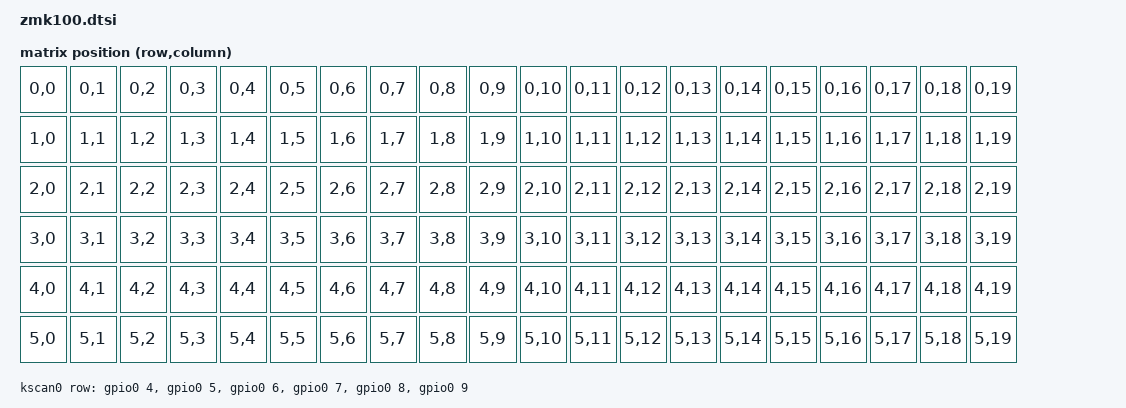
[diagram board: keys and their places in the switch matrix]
#include <dt-bindings/zmk/matrix_transform.h>

/ {
    chosen {
        zmk,kscan = &kscan0;
        zmk,matrix-transform = &default_transform;
    };
    
    default_transform: keymap_transform0 {
        compatible = "zmk,matrix-transform";
        columns = <20>;
        rows = <6>;
        map = <
        //  LKey 1 |LKey 2 |LKey 3 |LKey 4 |LKey 5 |LKey 6 |LKey 7 |LKey 8              RKey 1 |RKey 2 |RKey 3 |RKey 4 |RKey 5 |RKey 6 |RKey 7 |RKey 8 |RKey 9 |RKey 10 |RKey 11 |RKey 12
            RC(0,0) RC(0,1) RC(0,2) RC(0,3) RC(0,4) RC(0,5) RC(0,6) RC(0,7)             RC(0,8)  RC(0,9)  RC(0,10) RC(0,11) RC(0,12) RC(0,13) RC(0,14) RC(0,15) RC(0,16) RC(0,17) RC(0,18) RC(0,19)
        //  LKey 9 |LKey 10 |LKey 11 |LKey 12 |LKey 13 |LKey 14 |LKey 15 |LKey 16       RKey 13 |RKey 14 |RKey 15 |RKey 16 |RKey 17 |RKey 18 |RKey 19 |RKey 20 |RKey 21 |RKey 22 |RKey 23 |RKey 24
            RC(1,0) RC(1,1) RC(1,2) RC(1,3) RC(1,4) RC(1,5) RC(1,6) RC(1,7)             RC(1,8)  RC(1,9)  RC(1,10) RC(1,11) RC(1,12) RC(1,13) RC(1,14) RC(1,15) RC(1,16) RC(1,17) RC(1,18) RC(1,19)
        //  LKey 17 |LKey 18 |LKey 19 |LKey 20 |LKey 21 |LKey 22 |LKey 23 |LKey 24      RKey 25 |RKey 26 |RKey 27 |RKey 28 |RKey 29 |RKey 30 |RKey 31 |RKey 32 |RKey 33 |RKey 34 |RKey 35 |RKey 36
            RC(2,0) RC(2,1) RC(2,2) RC(2,3) RC(2,4) RC(2,5) RC(2,6) RC(2,7)             RC(2,8)  RC(2,9)  RC(2,10) RC(2,11) RC(2,12) RC(2,13) RC(2,14) RC(2,15) RC(2,16) RC(2,17) RC(2,18) RC(2,19)
        //  LKey 25 |LKey 26 |LKey 27 |LKey 28 |LKey 29 |LKey 30 |LKey 31 |LKey 32      RKey 37 |RKey 38 |RKey 39 |RKey 40 |RKey 41 |RKey 42 |RKey 43 |RKey 44 |RKey 45 |RKey 46 |RKey 47 |RKey 48
            RC(3,0) RC(3,1) RC(3,2) RC(3,3) RC(3,4) RC(3,5) RC(3,6) RC(3,7)             RC(3,8)  RC(3,9)  RC(3,10) RC(3,11) RC(3,12) RC(3,13) RC(3,14) RC(3,15) RC(3,16) RC(3,17) RC(3,18) RC(3,19)
        //  LKey 33 |LKey 34 |LKey 35 |LKey 36 |LKey 37 |LKey 38 |LKey 39 |LKey 40      RKey 49 |RKey 50 |RKey 51 |RKey 52 |RKey 53 |RKey 54 |RKey 55 |RKey 56 |RKey 57 |RKey 58 |RKey 59 |RKey 60
            RC(4,0) RC(4,1) RC(4,2) RC(4,3) RC(4,4) RC(4,5) RC(4,6) RC(4,7)             RC(4,8)  RC(4,9)  RC(4,10) RC(4,11) RC(4,12) RC(4,13) RC(4,14) RC(4,15) RC(4,16) RC(4,17) RC(4,18) RC(4,19)
        //  LKey 41 |LKey 42 |LKey 43 |LKey 44 |LKey 45 |LKey 46 |LKey 47 |LKey 48      RKey 61 |RKey 62 |RKey 63 |RKey 64 |RKey 65 |RKey 66 |RKey 67 |RKey 68 |RKey 69 |RKey 70 |RKey 71 |RKey 72
            RC(5,0) RC(5,1) RC(5,2) RC(5,3) RC(5,4) RC(5,5) RC(5,6) RC(5,7)             RC(5,8)  RC(5,9)  RC(5,10) RC(5,11) RC(5,12) RC(5,13) RC(5,14) RC(5,15) RC(5,16) RC(5,17) RC(5,18) RC(5,19)
        >;
    };



    kscan0: kscan0 {
    compatible = "zmk,kscan-gpio-matrix";
    diode-direction = "col2row";
    wakeup-source;

    row-gpios =
        <&gpio0 4 (GPIO_ACTIVE_HIGH | GPIO_PULL_DOWN)>
        , <&gpio0 5 (GPIO_ACTIVE_HIGH | GPIO_PULL_DOWN)>
        , <&gpio0 6 (GPIO_ACTIVE_HIGH | GPIO_PULL_DOWN)>
        , <&gpio0 7 (GPIO_ACTIVE_HIGH | GPIO_PULL_DOWN)>
        , <&gpio0 8 (GPIO_ACTIVE_HIGH | GPIO_PULL_DOWN)>
        , <&gpio0 9 (GPIO_ACTIVE_HIGH | GPIO_PULL_DOWN)>
    ;
};
};


